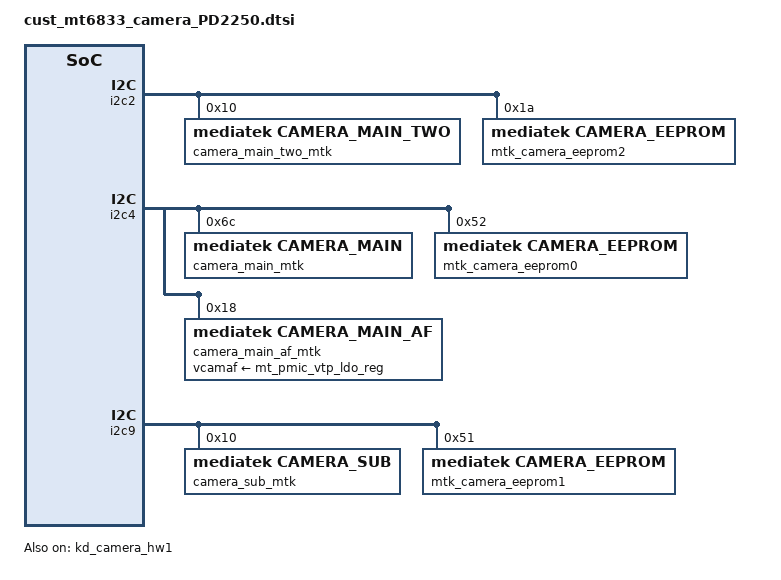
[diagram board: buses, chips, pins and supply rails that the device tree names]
/* SPDX-License-Identifier: GPL-2.0 */
/*
 * Copyright (c) 2019 MediaTek Inc.
*/
/* CAMERA GPIO standardization */
&pio {
	camera_pins_cam0_rst_0: cam0@0 {
		pins_cmd_dat {
			pinmux = <PINMUX_GPIO54__FUNC_GPIO54>;
			slew-rate = <1>;
			output-low;
		};
	};
	camera_pins_cam0_rst_1: cam0@1 {
		pins_cmd_dat {
			pinmux = <PINMUX_GPIO54__FUNC_GPIO54>;
			slew-rate = <1>;
			output-high;
		};
	};

	camera_pins_cam1_rst_0: cam1@0 {
		pins_cmd_dat {
			pinmux = <PINMUX_GPIO56__FUNC_GPIO56>;
			slew-rate = <1>;
			output-low;
		};
	};
	camera_pins_cam1_rst_1: cam1@1 {
		pins_cmd_dat {
			pinmux = <PINMUX_GPIO56__FUNC_GPIO56>;
			slew-rate = <1>;
			output-high;
		};
	};

	camera_pins_cam2_rst_0: cam2@0 {
		pins_cmd_dat {
			pinmux = <PINMUX_GPIO60__FUNC_GPIO60>;
			slew-rate = <1>;
			output-low;
		};
	};
	camera_pins_cam2_rst_1: cam2@1 {
		pins_cmd_dat {
			pinmux = <PINMUX_GPIO60__FUNC_GPIO60>;
			slew-rate = <1>;
			output-high;
		};
	};

	/*main power start*/
	camera_pins_cam0_vcama_0: cam0@vcam2 {
		pins_cmd_dat {
			pinmux = <PINMUX_GPIO55__FUNC_GPIO55>;
			slew-rate = <1>;
			output-low;
		};
	};
	camera_pins_cam0_vcama_1: cam0@vcam3 {
		pins_cmd_dat {
			pinmux = <PINMUX_GPIO55__FUNC_GPIO55>;
			slew-rate = <1>;
			output-high;
		};
	};
	/*main power end*/
	/*sub power start*/
	camera_pins_cam1_vcama_0: cam1@vcam0 {
		pins_cmd_dat {
			pinmux = <PINMUX_GPIO55__FUNC_GPIO55>;
			slew-rate = <1>;
			output-low;
		};
	};
	camera_pins_cam1_vcama_1: cam1@vcam1 {
		pins_cmd_dat {
			pinmux = <PINMUX_GPIO55__FUNC_GPIO55>;
			slew-rate = <1>;
			output-high;
		};
	};
	/*sub power end*/

	/*macro power start*/
	camera_pins_cam2_vcama_0: cam2@vcam0 {
		pins_cmd_dat {
			pinmux = <PINMUX_GPIO55__FUNC_GPIO55>;
			slew-rate = <1>;
			output-low;
		};
	};
	camera_pins_cam2_vcama_1: cam2@vcam1 {
		pins_cmd_dat {
			pinmux = <PINMUX_GPIO55__FUNC_GPIO55>;
			slew-rate = <1>;
			output-high;
		};
	};
	/*macro power end*/

	camera_pins_cam0_mclk_off: camera_pins_cam0_mclk_off {
		pins_cmd_dat {
			pinmux = <PINMUX_GPIO49__FUNC_GPIO49>;
			drive-strength = <0>;
		};
	};
	camera_pins_cam0_mclk_2ma: camera_pins_cam0_mclk_2ma {
		pins_cmd_dat {
			pinmux = <PINMUX_GPIO49__FUNC_CMMCLK0>;
			drive-strength = <0>;
		};
	};
	camera_pins_cam0_mclk_4ma: camera_pins_cam0_mclk_4ma {
		pins_cmd_dat {
			pinmux = <PINMUX_GPIO49__FUNC_CMMCLK0>;
			drive-strength = <1>;
		};
	};
	camera_pins_cam0_mclk_6ma: camera_pins_cam0_mclk_6ma {
		pins_cmd_dat {
			pinmux = <PINMUX_GPIO49__FUNC_CMMCLK0>;
			drive-strength = <2>;
		};
	};
	camera_pins_cam0_mclk_8ma: camera_pins_cam0_mclk_8ma {
		pins_cmd_dat {
			pinmux = <PINMUX_GPIO49__FUNC_CMMCLK0>;
			drive-strength = <3>;
		};
	};

	camera_pins_cam1_mclk_off: camera_pins_cam1_mclk_off {
		pins_cmd_dat {
			pinmux = <PINMUX_GPIO52__FUNC_GPIO52>;
			drive-strength = <0>;
		};
	};
	camera_pins_cam1_mclk_2ma: camera_pins_cam1_mclk_2ma {
		pins_cmd_dat {
			pinmux = <PINMUX_GPIO52__FUNC_CMMCLK3>;
			drive-strength = <0>;
		};
	};
	camera_pins_cam1_mclk_4ma: camera_pins_cam1_mclk_4ma {
		pins_cmd_dat {
			pinmux = <PINMUX_GPIO52__FUNC_CMMCLK3>;
			drive-strength = <1>;
		};
	};
	camera_pins_cam1_mclk_6ma: camera_pins_cam1_mclk_6ma {
		pins_cmd_dat {
			pinmux = <PINMUX_GPIO52__FUNC_CMMCLK3>;
			drive-strength = <2>;
		};
	};
	camera_pins_cam1_mclk_8ma: camera_pins_cam1_mclk_8ma {
		pins_cmd_dat {
			pinmux = <PINMUX_GPIO52__FUNC_CMMCLK3>;
			drive-strength = <3>;
		};
	};

	camera_pins_cam2_mclk_off: camera_pins_cam2_mclk_off {
		pins_cmd_dat {
			pinmux = <PINMUX_GPIO50__FUNC_GPIO50>;
			drive-strength = <0>;
		};
	};
	camera_pins_cam2_mclk_2ma: camera_pins_cam2_mclk_2ma {
		pins_cmd_dat {
			pinmux = <PINMUX_GPIO50__FUNC_CMMCLK1>;
			drive-strength = <0>;
		};
	};
	camera_pins_cam2_mclk_4ma: camera_pins_cam2_mclk_4ma {
		pins_cmd_dat {
			pinmux = <PINMUX_GPIO50__FUNC_CMMCLK1>;
			drive-strength = <1>;
		};
	};
	camera_pins_cam2_mclk_6ma: camera_pins_cam2_mclk_6ma {
		pins_cmd_dat {
			pinmux = <PINMUX_GPIO50__FUNC_CMMCLK1>;
			drive-strength = <2>;
		};
	};
	camera_pins_cam2_mclk_8ma: camera_pins_cam2_mclk_8ma {
		pins_cmd_dat {
			pinmux = <PINMUX_GPIO50__FUNC_CMMCLK1>;
			drive-strength = <3>;
		};
	};

	camera_pins_default: camdefault {
	};
};
&kd_camera_hw1 {
	pinctrl-names = "default",
		"cam0_rst0", "cam0_rst1",
		"cam1_rst0", "cam1_rst1",
		"cam2_rst0", "cam2_rst1",
		"cam0_ldo_vcama_0", "cam0_ldo_vcama_1",
		"cam1_ldo_vcama_0", "cam1_ldo_vcama_1",
		"cam2_ldo_vcama_0", "cam2_ldo_vcama_1",
		"cam0_mclk_off",
		"cam0_mclk_2mA", "cam0_mclk_4mA",
		"cam0_mclk_6mA", "cam0_mclk_8mA",
		"cam1_mclk_off",
		"cam1_mclk_2mA", "cam1_mclk_4mA",
		"cam1_mclk_6mA", "cam1_mclk_8mA",
		"cam2_mclk_off",
		"cam2_mclk_2mA", "cam2_mclk_4mA",
		"cam2_mclk_6mA", "cam2_mclk_8mA";

	pinctrl-0 = <&camera_pins_default>;
	pinctrl-1 = <&camera_pins_cam0_rst_0>;
	pinctrl-2 = <&camera_pins_cam0_rst_1>;
	pinctrl-3 = <&camera_pins_cam1_rst_0>;
	pinctrl-4 = <&camera_pins_cam1_rst_1>;
	pinctrl-5 = <&camera_pins_cam2_rst_0>;
	pinctrl-6 = <&camera_pins_cam2_rst_1>;
	pinctrl-7 = <&camera_pins_cam0_vcama_0>;
	pinctrl-8 = <&camera_pins_cam0_vcama_1>;
	pinctrl-9 = <&camera_pins_cam1_vcama_0>;
	pinctrl-10 = <&camera_pins_cam1_vcama_1>;
	pinctrl-11 = <&camera_pins_cam2_vcama_0>;
	pinctrl-12 = <&camera_pins_cam2_vcama_1>;
	pinctrl-13 = <&camera_pins_cam0_mclk_off>;
	pinctrl-14 = <&camera_pins_cam0_mclk_2ma>;
	pinctrl-15 = <&camera_pins_cam0_mclk_4ma>;
	pinctrl-16 = <&camera_pins_cam0_mclk_6ma>;
	pinctrl-17 = <&camera_pins_cam0_mclk_8ma>;
	pinctrl-18 = <&camera_pins_cam1_mclk_off>;
	pinctrl-19 = <&camera_pins_cam1_mclk_2ma>;
	pinctrl-20 = <&camera_pins_cam1_mclk_4ma>;
	pinctrl-21 = <&camera_pins_cam1_mclk_6ma>;
	pinctrl-22 = <&camera_pins_cam1_mclk_8ma>;
	pinctrl-23 = <&camera_pins_cam2_mclk_off>;
	pinctrl-24 = <&camera_pins_cam2_mclk_2ma>;
	pinctrl-25 = <&camera_pins_cam2_mclk_4ma>;
	pinctrl-26 = <&camera_pins_cam2_mclk_6ma>;
	pinctrl-27 = <&camera_pins_cam2_mclk_8ma>;
	status = "okay";
};
/* CAMERA GPIO end */

/* Camera i2c dtsi start */
&i2c2 {

	camera_main_two_mtk:camera_main_two@10 {
		compatible = "mediatek,camera_main_two";
		reg = <0x10>;
		status = "okay";
	};
		mtk_camera_eeprom2:camera_eeprom2@1a {
		compatible = "mediatek,camera_eeprom";
		reg = <0x1a>;
		status = "okay";
	};
};

&i2c4 {
	camera_main_mtk:camera_main@6c {
		compatible = "mediatek,camera_main";
		reg = <0x6c>;
		status = "okay";
	};

	mtk_camera_eeprom0:camera_eeprom0@52 {
		compatible = "mediatek,camera_eeprom";
		reg = <0x52>;
		status = "okay";
	};

	camera_main_af_mtk:camera_main_af@18 {
		compatible = "mediatek,CAMERA_MAIN_AF";
		reg = <0x18>;
		status = "okay";
	};
};

&i2c9 {

	camera_sub_mtk:camera_sub@10 {
		compatible = "mediatek,camera_sub";
		reg = <0x10>;
		status = "okay";
	};

	mtk_camera_eeprom1:camera_eeprom1@51 {
		compatible = "mediatek,camera_eeprom";
		reg = <0x51>;
		status = "okay";
	};
};
/* Camera i2c dtsi end*/

/*************************
 * PMIC DTSI File
*************************/
&mt_pmic_vcamio_ldo_reg {
	regulator-name = "vcamio";
	regulator-default-on = <1>; /* 0:skip, 1: off, 2:on */
	status = "okay";
};

&mt_pmic_vcn13_ldo_reg{
	regulator-name = "vcn13";
	regulator-default-on = <1>; /* 0:skip, 1: off, 2:on */
	status = "okay";
};
&kd_camera_hw1 {
	cam0_vcamio-supply = <&mt_pmic_vcamio_ldo_reg>;/*6365 vcamio*/
	cam1_vcamio-supply = <&mt_pmic_vcamio_ldo_reg>;
	cam2_vcamio-supply = <&mt_pmic_vcamio_ldo_reg>;
	cam0_vcamd-supply = <&mt_pmic_vcn13_ldo_reg>;/*6365 DVDD*/
	cam1_vcamd-supply = <&mt_pmic_vcn13_ldo_reg>;/*6365 DVDD*/
	cam0_enable_sensor = "ov13b10sunpd2250_mipi_raw ov13b10qtepd2250_mipi_raw";
	cam1_enable_sensor = "s5k5e9pd2250_mipi_raw";
	cam2_enable_sensor = "gc02m1pd2250_mipi_raw";
	status = "okay";
};

&camera_main_af_mtk{
	vcamaf-supply = <&mt_pmic_vtp_ldo_reg>;
	status = "okay";
};

&flashlights_mt6360 {
	decouple = <1>;
	channel@0 {
		type = <0>;
		ct = <0>;
		part = <0>;
	};
};
